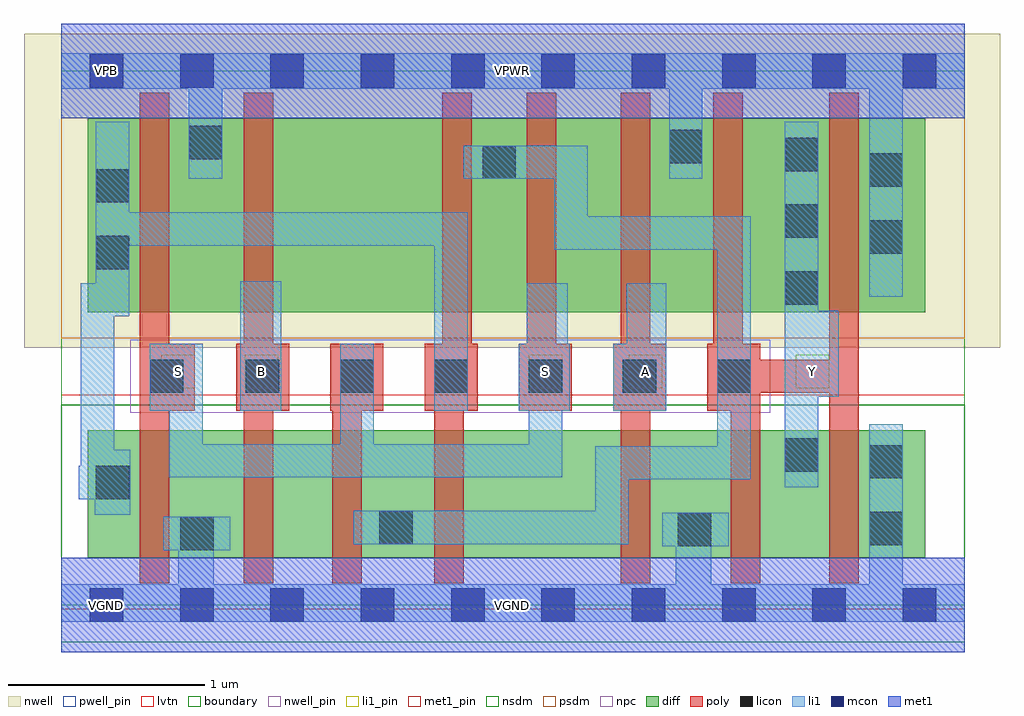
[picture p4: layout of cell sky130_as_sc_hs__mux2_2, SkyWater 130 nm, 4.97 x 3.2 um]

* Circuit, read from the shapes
.subckt sky130_as_sc_hs__mux2_2 A B S VGND VNB VPB VPWR Y
XM1 VGND S n1 VNB sky130_fd_pr__nfet_01v8_lvt w=0.65 l=0.15
XM2 n2 B VGND VNB sky130_fd_pr__nfet_01v8_lvt w=0.65 l=0.15
XM3 n3 S n2 VNB sky130_fd_pr__nfet_01v8_lvt w=0.65 l=0.15
XM4 n4 n1 n3 VNB sky130_fd_pr__nfet_01v8_lvt w=0.65 l=0.15
XM5 VGND A n4 VNB sky130_fd_pr__nfet_01v8_lvt w=0.65 l=0.15
XM6 Y n3 VGND VNB sky130_fd_pr__nfet_01v8_lvt w=0.65 l=0.15 m=2
XM7 VPWR S n1 VPB sky130_fd_pr__pfet_01v8 w=0.99 l=0.15
XM8 n5 B VPWR VPB sky130_fd_pr__pfet_01v8 w=0.99 l=0.15
XM9 n3 n1 n5 VPB sky130_fd_pr__pfet_01v8 w=0.99 l=0.15
XM10 n6 S n3 VPB sky130_fd_pr__pfet_01v8 w=0.99 l=0.15
XM11 VPWR A n6 VPB sky130_fd_pr__pfet_01v8 w=0.99 l=0.15
XM12 Y n3 VPWR VPB sky130_fd_pr__pfet_01v8 w=0.99 l=0.15 m=2
.ends

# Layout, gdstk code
import gdstk
lib = gdstk.Library(unit=1e-6, precision=1e-09)
def R(c, l, rs):  # rectangles x0, y0, x1, y1
    for r in rs: c.add(gdstk.rectangle(r[:2], r[2:], *l))
def A(c, l, x, y, w, h, nx, ny, dx, dy):  # array of equal rectangles
    R(c, l, [(x+i*dx, y+j*dy, x+i*dx+w, y+j*dy+h) for i in range(nx) for j in range(ny)])
nwell_pin = (64, 16)
nwell = (64, 20)
diff = (65, 20)
poly = (66, 20)
licon = (66, 44)
li1_pin = (67, 16)
li1 = (67, 20)
mcon = (67, 44)
met1_pin = (68, 16)
met1 = (68, 20)
nsdm = (93, 44)
psdm = (94, 20)
npc = (95, 20)
pwell_pin = (122, 16)
lvtn = (125, 44)
boundary = (235, 4)

sky130_as_sc_hs__mux2_2 = lib.new_cell('sky130_as_sc_hs__mux2_2')
R(sky130_as_sc_hs__mux2_2, nwell_pin, [(0.145,2.635,0.315,2.805)])
R(sky130_as_sc_hs__mux2_2, nwell, [(-0.19,1.31,4.78,2.91)])
R(sky130_as_sc_hs__mux2_2, diff, [(0.135,0.24,4.4,0.89), (0.135,1.49,4.4,2.48)])
A(sky130_as_sc_hs__mux2_2, poly, 0.89, 0.99, 0.27, 0.34, 5, 1, 0.48, 0)
R(sky130_as_sc_hs__mux2_2, poly, [(0.4,0.11,0.55,0.99), (0.93,0.11,1.08,0.99), (1.38,0.11,1.53,0.99), (1.9,0.11,2.05,0.99), (2.85,0.11,3,0.99), (3.41,0.11,3.56,0.99), (3.91,0.11,4.06,1.08), (0.4,0.99,0.68,1.33), (3.29,0.99,3.56,1.08), (3.29,1.08,4.06,1.25), (3.29,1.25,3.56,1.33), (3.91,1.25,4.06,2.61), (0.4,1.33,0.55,2.61), (0.93,1.33,1.08,2.61), (1.94,1.33,2.09,2.61), (2.37,1.33,2.52,2.61), (2.85,1.33,3,2.61), (3.32,1.33,3.47,2.61)])
A(sky130_as_sc_hs__mux2_2, licon, 0.94, 1.08, 0.17, 0.17, 6, 1, 0.48, 0)
A(sky130_as_sc_hs__mux2_2, licon, 3.685, 1.53, 0.17, 0.17, 1, 3, 0, 0.34)
R(sky130_as_sc_hs__mux2_2, licon, [(0.605,0.28,0.775,0.45), (3.14,0.3,3.31,0.47), (4.115,0.305,4.285,0.475), (1.62,0.31,1.79,0.48), (0.175,0.54,0.345,0.71), (4.115,0.645,4.285,0.815), (3.685,0.68,3.855,0.85), (0.45,1.08,0.62,1.25), (0.175,1.71,0.345,1.88), (4.115,1.79,4.285,1.96), (0.175,2.05,0.345,2.22), (4.115,2.13,4.285,2.3), (2.145,2.17,2.315,2.34), (3.095,2.25,3.265,2.42), (0.65,2.27,0.82,2.44)])
R(sky130_as_sc_hs__mux2_2, li1_pin, [(0.51,1.105,0.68,1.275), (0.935,1.105,1.105,1.275), (2.38,1.105,2.55,1.275), (2.89,1.105,3.06,1.275), (3.74,1.105,3.91,1.275)])
R(sky130_as_sc_hs__mux2_2, li1, [(0,-0.085,4.6,0.105), (0.595,0.105,0.775,0.28), (3.13,0.105,3.31,0.3), (4.115,0.105,4.285,0.92), (0.52,0.28,0.86,0.45), (3.06,0.3,3.4,0.47), (1.49,0.31,2.89,0.48), (0.17,0.46,0.35,0.54), (2.72,0.48,2.89,0.64), (0.09,0.54,0.35,0.71), (3.685,0.6,3.855,1.06), (2.72,0.64,3.51,0.81), (0.55,0.65,2.55,0.82), (0.1,0.71,0.35,0.79), (0.1,0.79,0.27,1.47), (3.34,0.81,3.51,1.81), (0.55,0.82,0.72,0.99), (1.42,0.82,1.59,1.33), (2.38,0.82,2.55,0.99), (0.45,0.99,0.72,1.33), (0.91,0.99,1.12,1.65), (1.9,0.99,2.07,1.83), (2.33,0.99,2.59,1.33), (2.81,0.99,3.08,1.33), (3.685,1.06,3.96,1.5), (2.37,1.33,2.58,1.64), (2.88,1.33,3.08,1.64), (0.1,1.47,0.345,1.64), (3.685,1.5,3.855,2.46), (4.115,1.57,4.285,2.63), (0.175,1.64,0.345,1.83), (2.51,1.81,3.51,1.98), (0.175,1.83,2.07,2), (2.51,1.98,2.68,2.17), (0.175,2,0.345,2.46), (0.65,2.17,0.82,2.63), (2.05,2.17,2.68,2.34), (3.095,2.17,3.265,2.63), (0,2.63,4.6,2.81)])
A(sky130_as_sc_hs__mux2_2, mcon, 0.145, -0.085, 0.17, 0.17, 10, 2, 0.46, 2.72)
R(sky130_as_sc_hs__mux2_2, met1_pin, [(0,-0.24,4.6,0.24), (0.145,-0.085,0.315,0.085), (0,2.48,4.6,2.96), (0.145,2.635,0.315,2.805)])
R(sky130_as_sc_hs__mux2_2, met1, [(0,-0.24,4.6,0.24), (0,2.48,4.6,2.96)])
R(sky130_as_sc_hs__mux2_2, nsdm, [(0,-0.19,4.6,1.02)])
R(sky130_as_sc_hs__mux2_2, psdm, [(0,1.36,4.6,2.91)])
R(sky130_as_sc_hs__mux2_2, npc, [(0.35,0.98,3.61,1.35)])
R(sky130_as_sc_hs__mux2_2, pwell_pin, [(0.145,-0.085,0.315,0.085)])
R(sky130_as_sc_hs__mux2_2, lvtn, [(0,-0.02,4.6,1.07)])
R(sky130_as_sc_hs__mux2_2, boundary, [(0,0,4.6,2.72)])
sky130_as_sc_hs__mux2_2.add(gdstk.Label('VPB', (0.23,2.72), layer=64, texttype=5))
sky130_as_sc_hs__mux2_2.add(gdstk.Label('VPB', (0.23,2.72), layer=64, texttype=5))
sky130_as_sc_hs__mux2_2.add(gdstk.Label('VGND', (0.23,0), layer=68, texttype=5))
sky130_as_sc_hs__mux2_2.add(gdstk.Label('VGND', (2.3,0), layer=68, texttype=5))
sky130_as_sc_hs__mux2_2.add(gdstk.Label('VPWR', (0.23,2.72), layer=68, texttype=5))
sky130_as_sc_hs__mux2_2.add(gdstk.Label('VPWR', (2.3,2.72), layer=68, texttype=5))
sky130_as_sc_hs__mux2_2.add(gdstk.Label('VNB', (0.23,0), layer=64, texttype=59))
sky130_as_sc_hs__mux2_2.add(gdstk.Label('VNB', (0.23,0), layer=64, texttype=59))
sky130_as_sc_hs__mux2_2.add(gdstk.Label('A', (2.975,1.19), layer=67, texttype=5))
sky130_as_sc_hs__mux2_2.add(gdstk.Label('A', (2.975,1.19), layer=67, texttype=5))
sky130_as_sc_hs__mux2_2.add(gdstk.Label('Y', (3.825,1.19), layer=67, texttype=5))
sky130_as_sc_hs__mux2_2.add(gdstk.Label('Y', (3.825,1.19), layer=67, texttype=5))
sky130_as_sc_hs__mux2_2.add(gdstk.Label('B', (1.02,1.19), layer=67, texttype=5))
sky130_as_sc_hs__mux2_2.add(gdstk.Label('B', (1.02,1.19), layer=67, texttype=5))
sky130_as_sc_hs__mux2_2.add(gdstk.Label('S', (0.595,1.19), layer=67, texttype=5))
sky130_as_sc_hs__mux2_2.add(gdstk.Label('S', (0.595,1.19), layer=67, texttype=5))
sky130_as_sc_hs__mux2_2.add(gdstk.Label('S', (2.465,1.19), layer=67, texttype=5))
sky130_as_sc_hs__mux2_2.add(gdstk.Label('S', (2.465,1.19), layer=67, texttype=5))

lib.write_gds('sky130_as_sc_hs__mux2_2.gds')
